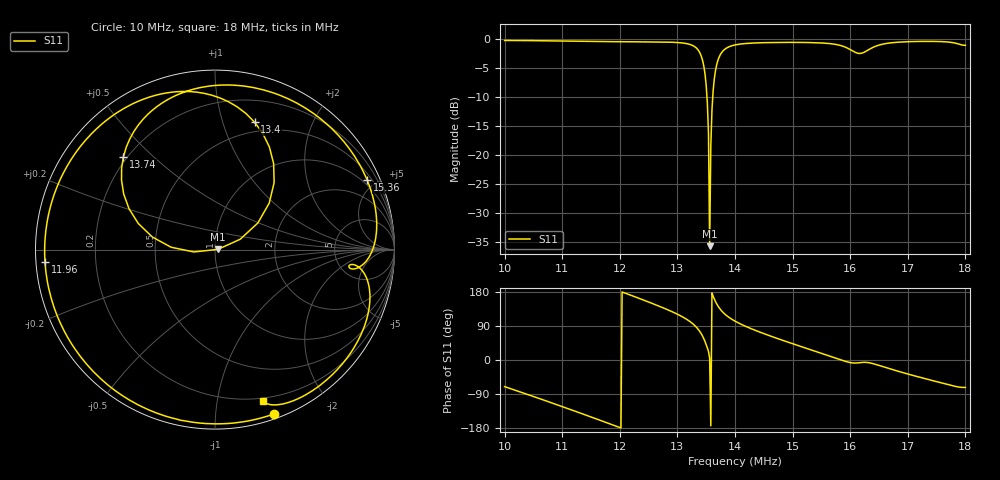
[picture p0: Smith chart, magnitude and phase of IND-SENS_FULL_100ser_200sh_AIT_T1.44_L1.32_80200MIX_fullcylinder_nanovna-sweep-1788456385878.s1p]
! NanoVNA Web complex sweep
! Processing: original sample grid, no browser smoothing
# Hz S RI R 50
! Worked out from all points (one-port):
!   401 points, 10 MHz to 18 MHz, reference 50 ohm
!   lowest |S11| = -35.7 dB at 13.56 MHz (marker M1), VSWR 1.03, Z = 51.7 + j0.139 ohm
!   |S11| at or under -10 dB: 13.51 MHz to 13.61 MHz (100.4 kHz wide, 0.74 % of centre)
!   S11 on the Smith chart (normalised r, x): 10 MHz: 0.04, -1.42; 11.96 MHz: 0.03, -0.04; 13.4 MHz: 0.40, +1.28; 13.74 MHz: 0.19, +0.41; 15.36 MHz: 0.75, +4.45; 18 MHz: 0.17, -1.35
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1e7  0.3287 -0.916
1.05e7  -0.1049 -0.9642
1.1e7  -0.5235 -0.8086
1.15e7  -0.8296 -0.4737
1.196e7  -0.9474 -0.0669
1.2e7  -0.9489 -0.0296
1.252e7  -0.8345 0.4464
1.3e7  -0.4787 0.8021
1.326e7  -0.1009 0.8771
1.34e7  0.2205 0.7099
1.348e7  0.3294 0.3729
1.35e7  0.3021 0.259
1.352e7  0.2392 0.1488
1.356e7  0.0164 0.00135
1.36e7  -0.2443 0.0131
1.362e7  -0.3492 0.0702
1.364e7  -0.4273 0.1454
1.374e7  -0.5103 0.5166
1.386e7  -0.3748 0.7533
1.4e7  -0.1937 0.8691
1.442e7  0.2527 0.8943
1.5e7  0.6856 0.6386
1.536e7  0.847 0.3888
1.6e7  0.8051 -0.0969
1.634e7  0.8133 -0.1091
1.7e7  0.759 -0.5709
1.76e7  0.4605 -0.8317
1.8e7  0.2684 -0.8432
